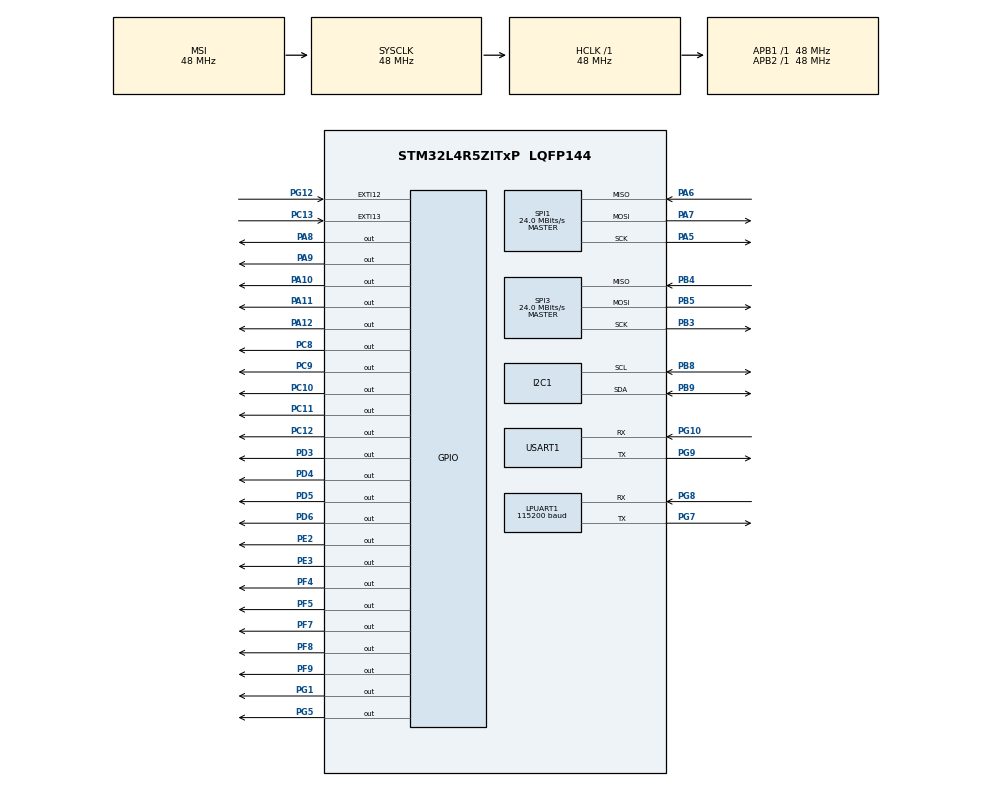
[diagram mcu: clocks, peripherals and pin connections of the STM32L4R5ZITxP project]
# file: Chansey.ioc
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I2C1.Timing=0x10805D88
LPUART1.BaudRate=115200
LPUART1.WordLength=UART_WORDLENGTH_8B
Mcu.Family=STM32L4
Mcu.Name=STM32L4R5ZITxP
Mcu.Package=LQFP144
NVIC.EXTI15_10_IRQn=true\:0\:0\:false\:false\:true\:true\:true\:true
NVIC.PriorityGroup=NVIC_PRIORITYGROUP_4
PA0.Signal=S_TIM2_CH1
PA1.Signal=ADCx_IN6
PA10.Signal=GPIO_Output
PA11.Signal=GPIO_Output
PA12.Signal=GPIO_Output
PA13\ (JTMS/SWDIO).Signal=SYS_JTMS-SWDIO
PA14\ (JTCK/SWCLK).Signal=SYS_JTCK-SWCLK
PA3.Signal=ADCx_IN8
PA4.Signal=SPI1_NSS
PA5.Mode=Full_Duplex_Master
PA5.Signal=SPI1_SCK
PA6.Mode=Full_Duplex_Master
PA6.Signal=SPI1_MISO
PA7.Mode=Full_Duplex_Master
PA7.Signal=SPI1_MOSI
PA8.Signal=GPIO_Output
PA9.Signal=GPIO_Output
PB0.Signal=S_TIM3_CH3
PB1.Signal=ADCx_IN16
PB10.Signal=S_TIM2_CH3
PB12.Signal=SAI2_FS_A
PB13.Signal=SAI2_SCK_A
PB14.Signal=S_TIM15_CH1
PB15.Signal=SAI2_SD_A
PB2.Signal=COMP1_INP
PB3\ (JTDO/TRACESWO).Mode=Full_Duplex_Master
PB3\ (JTDO/TRACESWO).Signal=SPI3_SCK
PB4\ (NJTRST).Mode=Full_Duplex_Master
PB4\ (NJTRST).Signal=SPI3_MISO
PB5.Mode=Full_Duplex_Master
PB5.Signal=SPI3_MOSI
PB6.Signal=COMP2_INP
PB8.Mode=I2C
PB8.Signal=I2C1_SCL
PB9.Mode=I2C
PB9.Signal=I2C1_SDA
PC0.Signal=ADCx_IN1
PC1.Signal=ADCx_IN2
PC10.Signal=GPIO_Output
PC11.Signal=GPIO_Output
PC12.Signal=GPIO_Output
PC13.Signal=GPXTI13
PC14-OSC32_IN\ (PC14).Signal=RCC_OSC32_IN
PC15-OSC32_OUT\ (PC15).Signal=RCC_OSC32_OUT
PC2.Signal=ADCx_IN3
PC3.Signal=ADCx_IN4
PC4.Signal=ADCx_IN13
PC5.Signal=ADCx_IN14
PC6.Signal=SAI2_MCLK_A
PC7.Signal=S_TIM3_CH2
PC8.Signal=GPIO_Output
PC9.Signal=GPIO_Output
PD0.Signal=CAN1_RX
PD14.Signal=S_TIM4_CH3
PD15.Signal=S_TIM4_CH4
PD2.Signal=SDMMC1_CMD
PD3.Signal=GPIO_Output
PD4.Signal=GPIO_Output
PD5.Signal=GPIO_Output
PD6.Signal=GPIO_Output
PD8.Signal=USART3_TX
PD9.Signal=USART3_RX
PE0.Signal=S_TIM4_ETR
PE10.Signal=TIM1_CH2N
PE11.Signal=S_TIM1_CH2
PE12.Signal=TIM1_CH3N
PE13.Signal=S_TIM1_CH3
PE14.Signal=TIM1_BKIN2
PE15.Signal=TIM1_BKIN
PE2.Signal=GPIO_Output
PE3.Signal=GPIO_Output
PE7.Signal=S_TIM1_ETR
PE8.Signal=TIM1_CH1N
PE9.Signal=S_TIM1_CH1
PF0.Signal=I2C2_SDA
PF1.Signal=I2C2_SCL
PF2.Signal=I2C2_SMBA
PF4.Signal=GPIO_Output
PF5.Signal=GPIO_Output
PF7.Signal=GPIO_Output
PF8.Signal=GPIO_Output
PF9.Signal=GPIO_Output
PG1.Signal=GPIO_Output
PG10.Mode=Asynchronous
PG10.Signal=USART1_RX
PG12.Signal=GPXTI12
PG5.Signal=GPIO_Output
PG7.Mode=Asynchronous
PG7.Signal=LPUART1_TX
PG8.Mode=Asynchronous
PG8.Signal=LPUART1_RX
PG9.Mode=Asynchronous
PG9.Signal=USART1_TX
PH0-OSC_IN\ (PH0).Signal=RCC_OSC_IN
PH1-OSC_OUT\ (PH1).Signal=RCC_OSC_OUT
ProjectManager.HeapSize=0x200
ProjectManager.StackSize=0x400
ProjectManager.TargetToolchain=STM32CubeIDE
RCC.ADCFreq_Value=192000000
RCC.AHBFreq_Value=48000000
RCC.APB1Freq_Value=48000000
RCC.APB1TimFreq_Value=48000000
RCC.APB2Freq_Value=48000000
RCC.APB2TimFreq_Value=48000000
RCC.CortexFreq_Value=48000000
RCC.HCLKFreq_Value=48000000
RCC.HSE_VALUE=8000000
RCC.HSI48_VALUE=48000000
RCC.HSI_VALUE=16000000
RCC.LSE_VALUE=32768
RCC.MSIClockRange=RCC_MSIRANGE_11
RCC.MSI_VALUE=48000000
RCC.SYSCLKFreq_VALUE=48000000
RCC.USBFreq_Value=192000000
RCC.VCOOutputFreq_Value=384000000
SH.ADCx_IN1.0=ADC1_IN1
SH.ADCx_IN13.0=ADC1_IN13
SH.ADCx_IN14.0=ADC1_IN14
SH.ADCx_IN16.0=ADC1_IN16
SH.ADCx_IN2.0=ADC1_IN2
SH.ADCx_IN3.0=ADC1_IN3
SH.ADCx_IN4.0=ADC1_IN4
SH.ADCx_IN6.0=ADC1_IN6
SH.ADCx_IN8.0=ADC1_IN8
SH.S_TIM15_CH1.0=TIM15_CH1
SH.S_TIM1_CH1.0=TIM1_CH1
SH.S_TIM1_CH2.0=TIM1_CH2
SH.S_TIM1_CH3.0=TIM1_CH3
SH.S_TIM1_ETR.0=TIM1_ETR
SH.S_TIM2_CH1.0=TIM2_CH1
SH.S_TIM2_CH3.0=TIM2_CH3
SH.S_TIM3_CH2.0=TIM3_CH2
SH.S_TIM3_CH3.0=TIM3_CH3
SH.S_TIM4_CH3.0=TIM4_CH3
SH.S_TIM4_CH4.0=TIM4_CH4
SH.S_TIM4_ETR.0=TIM4_ETR
SPI1.CalculateBaudRate=24.0 MBits/s
SPI1.Direction=SPI_DIRECTION_2LINES
SPI1.Mode=SPI_MODE_MASTER
SPI1.VirtualType=VM_MASTER
SPI3.CalculateBaudRate=24.0 MBits/s
SPI3.DataSize=SPI_DATASIZE_8BIT
SPI3.Direction=SPI_DIRECTION_2LINES
SPI3.Mode=SPI_MODE_MASTER
SPI3.VirtualType=VM_MASTER
USART1.VirtualMode-Asynchronous=VM_ASYNC
board=NUCLEO-L4R5ZI-P

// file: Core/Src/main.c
/* USER CODE BEGIN Header */
/**
  ******************************************************************************
  * @file           : main.c
  * @brief          : Main program body
  ******************************************************************************
  * @attention
  *
  * Copyright (c) 2025 STMicroelectronics.
  * All rights reserved.
  *
  * This software is licensed under terms that can be found in the LICENSE file
  * in the root directory of this software component.
  * If no LICENSE file comes with this software, it is provided AS-IS.
  *
  ******************************************************************************
  */
/* USER CODE END Header */
#include "main.h"

/* USER CODE BEGIN Includes */
#include "bodytemp.h"
#include "distance.h"
#include "rfid.h"
#include "temp_humid.h"
#include "stdio.h"
#include "motors.h"
#include "communicate.h"
#include "string.h"
#include "../../Drivers/VL53L0X/core/inc/vl53l0x_api.h"
#include "display.h"
/* USER CODE END Includes */

I2C_HandleTypeDef hi2c1;

UART_HandleTypeDef hlpuart1;
UART_HandleTypeDef huart1;

SPI_HandleTypeDef hspi1;
SPI_HandleTypeDef hspi3;

/* USER CODE BEGIN PV */
enum States {
	IDLE,
	SCAN,
	HEART,
	TEMP,
	RESULT,
	PILLS,
	DONE
};

enum Users {
	DEFAULT,
	ABRAHAM, //1
	ALEC,    //2
	ANNA,    //3
	AVA,     //4
	JAMES,   //5
	JOHN,    //6
	JOSEPH,  //7
	JUNYI,   //8
	KRIS,    //9
	MATT,    //10
	NATALIE  //11
};

VL53L0X_RangingMeasurementData_t RangingData;
VL53L0X_Dev_t vl53l0x_c;
VL53L0X_DEV Dev = &vl53l0x_c;
volatile uint8_t restock = 0;

/* USER CODE END PV */

void SystemClock_Config(void);
static void MX_GPIO_Init(void);
static void MX_I2C1_Init(void);
static void MX_LPUART1_UART_Init(void);
static void MX_USART1_UART_Init(void);
static void MX_SPI1_Init(void);
static void MX_SPI3_Init(void);

int main(void)
{

  /* MCU Configuration--------------------------------------------------------*/

  /* Reset of all peripherals, Initializes the Flash interface and the Systick. */
  HAL_Init();

  /* Configure the system clock */
  SystemClock_Config();

  /* Initialize all configured peripherals */
  MX_GPIO_Init();
  MX_I2C1_Init();
  MX_LPUART1_UART_Init();
  MX_USART1_UART_Init();
  MX_SPI1_Init();
  MX_SPI3_Init();
  /* USER CODE BEGIN 2 */

  enum States Chansey = IDLE;
  //IDLE STATE VARIABLES
  float buffer[2] = {0};
  uint8_t RFID_bool = 0;
  uint8_t distance_bool = 0;
  uint8_t counter = 0; //to not read temperature every single time we perform loop

  //RFID VARIABLES
  uint8_t str[MAX_LEN] = {0};
  uint8_t serNum[5] = {0};
  uint8_t R[16] = {0};
  uint8_t TrainerNum = DEFAULT;

  //HEART VARIABLES
   uint16_t heart_rate;

  //BODY TEMPERATURE VARIABLES
  float body_temperature;

  //PILL VARIABLES
  uint8_t pill_dispensed;

  //DISTANCE SENSOR VARIABLES
	uint32_t refSpadCount;
	uint8_t isApertureSpads;
	uint8_t VhvSettings;
	uint8_t PhaseCal;
	  Dev->I2cHandle = &hi2c1;
	  Dev->I2cDevAddr = 0x52;

	  // INITIALIZE DISPLAY
	  HAL_GPIO_WritePin(GPIOF, GPIO_PIN_4, GPIO_PIN_SET); // CS HIGH
	  DisplayBegin();

	  FillScreen(0xFFFF);

  /* USER CODE END 2 */

  /* Infinite loop */
  /* USER CODE BEGIN WHILE */
	  Chansey = TEMP;
  while (1)
  {
    /* USER CODE END WHILE */

    /* USER CODE BEGIN 3 */

	  	 printf("Chansey State: %d\r\n", Chansey);
		 switch(Chansey) {
		 	 case IDLE:
		 		 //turn off the speaker

		 		 RFID_bool = 0;
		 		 distance_bool = 0;
		 		 //temperature and humidity logic
		 		 float old_buffer[2];
		 		 memcpy(old_buffer, buffer, 2);
		 		//used to not read temperature/humidity all the time if not sensing
		 		 if(counter == 0){
					 if(temp_humid(&buffer, &hi2c1)){
						 printf("Temperature & Humidity: %.2f, %.2f\r\n", buffer[0], buffer[1]);
						 //send to LED;
						 //print for debug
					 }
					 else{
						 printf("Temp & Humidity not read: %.2f, %.2f\r\n", old_buffer[0], old_buffer[1]);
					 }
					 HAL_Delay(10);
		 		 }
		 		 //distance sensor logic
		 		  uint8_t buf[10] = {0xC0};
		 		  HAL_I2C_Master_Transmit(&hi2c1, VL_W_A, &buf[0], 1, 1000);
		 		  HAL_I2C_Master_Receive(&hi2c1, VL_R_A, &buf[2], 1, 1000);
		 		  SensorInit(  &refSpadCount,    &isApertureSpads,   & VhvSettings,   & PhaseCal);

		 		  VL53L0X_PerformSingleRangingMeasurement(Dev, &RangingData);
		 		  //printf("status: %u\n\r", RangingData.RangeStatus);

		 		  if (RangingData.RangeStatus==0) {
		 			  printf("Measured distance in mm: %u\n\r", RangingData.RangeMilliMeter);

		 			  if (RangingData.RangeMilliMeter == 0) {
		 				  SensorInit( &refSpadCount,    &isApertureSpads,    &VhvSettings,   & PhaseCal);
		 			  }
		 			  else{
		 				  if(RangingData.RangeMilliMeter < 200){
		 					  distance_bool = 1;
		 				  }
		 			  }
		 		  }

		 		 //RFID logic
		 		 uint8_t status = readCard(1, R); //reads trainer name
		 		 TrainerNum = R[0];
		 		 if(status == MI_OK && (R[0] != 0)){
		 			 RFID_bool = 1;
		 		 }

		 		 /*NEXT STATE LOGIC : if distance threshold met, move to SCAN, if RFID is scanned override and go to HEART.
		 		 (in cases where it recognizes both RFID and a person, it will not move to a redundant state)
		 		 */
		 		 if(distance_bool){
		 			 Chansey = SCAN;
		 			 printf("To scan\r\n");
		 		 }
		 		 if(RFID_bool){
		 			 Chansey = HEART;
		 			 printf("To heart\r\n");
		 		 }

		 		 //increase counter
		 		 counter++;
		 		 //reset counter if it goes over 255 range
		 		 if(counter > 50){
		 			 counter = 0;
		 		 }

		 		 break;
		 	 case SCAN:

		 		 uint8_t status1 = readCard(1, R);
		 		 if(status == MI_OK && (R[0] != 0)){
		 			 RFID_bool = 1;
		 		 }

		 		 if(RFID_bool == 1){
		 			 Chansey = HEART;
		 		 }

		 		 break;
		 	case HEART:

		 		//get heart rate
		 		/*
		 		 * if heart rate > threshold then store and make heart_bool = 1
		 		 */
//		 		if(heart_bool = 1){
//		 			heart_rate = getHeartRate();
//		 			Chansey = TEMP;
//		 		}

		 		break;
		 	case TEMP:

				if(temp_ready(&hi2c1)){
					body_temperature = getBodyTemp(&hi2c1);

					printf("body_temperature: %.2f\r\n", body_temperature);
					Chansey = RESULT;
				}
				HAL_Delay(100);
		 		break;
		 	case RESULT:
		 		//set pill_dispenser for multivitamin; //set the variable
		 		//read rfid
		 		//block 4 == average heart rate
		 		//if body_temperature > 100.4
		 		//set pill dispenser for fever medication
		 		//if heart_rate is not within +- 10 beats of users average then -> "Abnormal heart rate reading, hospital visit recommended"
		 		pill_dispensed = 1;
		 		if(body_temperature > 100.4){
		 			pill_dispensed = 0;
		 		}
		 		FillScreen(0xFFFF);
		 		HeartTempText("Ava");

		 		Chansey = PILLS;
		 		break;
		 	case PILLS:
		 		//read pill_dispenser variable
		 		//if plll_dispenser == 1 //
		 		//release multivitamin -> TURN LEFT MOTOR
		 		if(pill_dispensed == 1){
		 			printf("Dispensing Multivitamin\r\n");
			 	 	HAL_GPIO_EXTI_Callback(GPIO_PIN_13);
		 		}
		 		else{ //release fever meds
		 			HAL_GPIO_EXTI_Callback(GPIO_PIN_12);
		 		}
		 		if(restock == 2){
		 			printf("Out of stock, please re-stock multivitamin dispenser ");
		 		}
		 		else if(restock == 1){
		 			printf("Out of stock, please re-stock fever dispenser ");
		 		}

				Chansey = DONE;
		 		break;
		 	case DONE:
		 		//write average heart rate to the RFID if it's not abnormal
		 		//write
		 		//AVA
		 		//HR
		 		//TEMP
		 		//PILL_DISPENSED
		 		//DATE -> internally

		 		float data[4] = {(float)TrainerNum, (float)heart_rate, body_temperature, (float)pill_dispensed};
		 		sendToApp(&huart1, data);
		 		counter = 0;
		 		Chansey = TEMP;
		 		break;
		 }
  }
  /* USER CODE END 3 */
}

void SystemClock_Config(void)
{
  RCC_OscInitTypeDef RCC_OscInitStruct = {0};
  RCC_ClkInitTypeDef RCC_ClkInitStruct = {0};

  /** Configure the main internal regulator output voltage
  */
  if (HAL_PWREx_ControlVoltageScaling(PWR_REGULATOR_VOLTAGE_SCALE1) != HAL_OK)
  {
    Error_Handler();
  }

  /** Initializes the RCC Oscillators according to the specified parameters
  * in the RCC_OscInitTypeDef structure.
  */
  RCC_OscInitStruct.OscillatorType = RCC_OSCILLATORTYPE_MSI;
  RCC_OscInitStruct.MSIState = RCC_MSI_ON;
  RCC_OscInitStruct.MSICalibrationValue = 0;
  RCC_OscInitStruct.MSIClockRange = RCC_MSIRANGE_11;
  RCC_OscInitStruct.PLL.PLLState = RCC_PLL_NONE;
  if (HAL_RCC_OscConfig(&RCC_OscInitStruct) != HAL_OK)
  {
    Error_Handler();
  }

  /** Initializes the CPU, AHB and APB buses clocks
  */
  RCC_ClkInitStruct.ClockType = RCC_CLOCKTYPE_HCLK|RCC_CLOCKTYPE_SYSCLK
                              |RCC_CLOCKTYPE_PCLK1|RCC_CLOCKTYPE_PCLK2;
  RCC_ClkInitStruct.SYSCLKSource = RCC_SYSCLKSOURCE_MSI;
  RCC_ClkInitStruct.AHBCLKDivider = RCC_SYSCLK_DIV1;
  RCC_ClkInitStruct.APB1CLKDivider = RCC_HCLK_DIV1;
  RCC_ClkInitStruct.APB2CLKDivider = RCC_HCLK_DIV1;

  if (HAL_RCC_ClockConfig(&RCC_ClkInitStruct, FLASH_LATENCY_2) != HAL_OK)
  {
    Error_Handler();
  }
}

static void MX_I2C1_Init(void)
{

  hi2c1.Instance = I2C1;
  hi2c1.Init.Timing = 0x10805D88;
  hi2c1.Init.OwnAddress1 = 0;
  hi2c1.Init.AddressingMode = I2C_ADDRESSINGMODE_7BIT;
  hi2c1.Init.DualAddressMode = I2C_DUALADDRESS_DISABLE;
  hi2c1.Init.OwnAddress2 = 0;
  hi2c1.Init.OwnAddress2Masks = I2C_OA2_NOMASK;
  hi2c1.Init.GeneralCallMode = I2C_GENERALCALL_DISABLE;
  hi2c1.Init.NoStretchMode = I2C_NOSTRETCH_DISABLE;
  if (HAL_I2C_Init(&hi2c1) != HAL_OK)
  {
    Error_Handler();
  }

  /** Configure Analogue filter
  */
  if (HAL_I2CEx_ConfigAnalogFilter(&hi2c1, I2C_ANALOGFILTER_ENABLE) != HAL_OK)
  {
    Error_Handler();
  }

  /** Configure Digital filter
  */
  if (HAL_I2CEx_ConfigDigitalFilter(&hi2c1, 0) != HAL_OK)
  {
    Error_Handler();
  }

}

static void MX_LPUART1_UART_Init(void)
{

  hlpuart1.Instance = LPUART1;
  hlpuart1.Init.BaudRate = 115200;
  hlpuart1.Init.WordLength = UART_WORDLENGTH_8B;
  hlpuart1.Init.StopBits = UART_STOPBITS_1;
  hlpuart1.Init.Parity = UART_PARITY_NONE;
  hlpuart1.Init.Mode = UART_MODE_TX_RX;
  hlpuart1.Init.HwFlowCtl = UART_HWCONTROL_NONE;
  hlpuart1.Init.OneBitSampling = UART_ONE_BIT_SAMPLE_DISABLE;
  hlpuart1.Init.ClockPrescaler = UART_PRESCALER_DIV1;
  hlpuart1.AdvancedInit.AdvFeatureInit = UART_ADVFEATURE_NO_INIT;
  hlpuart1.FifoMode = UART_FIFOMODE_DISABLE;
  if (HAL_UART_Init(&hlpuart1) != HAL_OK)
  {
    Error_Handler();
  }
  if (HAL_UARTEx_SetTxFifoThreshold(&hlpuart1, UART_TXFIFO_THRESHOLD_1_8) != HAL_OK)
  {
    Error_Handler();
  }
  if (HAL_UARTEx_SetRxFifoThreshold(&hlpuart1, UART_RXFIFO_THRESHOLD_1_8) != HAL_OK)
  {
    Error_Handler();
  }
  if (HAL_UARTEx_DisableFifoMode(&hlpuart1) != HAL_OK)
  {
    Error_Handler();
  }

}

static void MX_USART1_UART_Init(void)
{

  huart1.Instance = USART1;
  huart1.Init.BaudRate = 115200;
  huart1.Init.WordLength = UART_WORDLENGTH_8B;
  huart1.Init.StopBits = UART_STOPBITS_1;
  huart1.Init.Parity = UART_PARITY_NONE;
  huart1.Init.Mode = UART_MODE_TX_RX;
  huart1.Init.HwFlowCtl = UART_HWCONTROL_NONE;
  huart1.Init.OverSampling = UART_OVERSAMPLING_16;
  huart1.Init.OneBitSampling = UART_ONE_BIT_SAMPLE_DISABLE;
  huart1.Init.ClockPrescaler = UART_PRESCALER_DIV1;
  huart1.AdvancedInit.AdvFeatureInit = UART_ADVFEATURE_NO_INIT;
  if (HAL_UART_Init(&huart1) != HAL_OK)
  {
    Error_Handler();
  }
  if (HAL_UARTEx_SetTxFifoThreshold(&huart1, UART_TXFIFO_THRESHOLD_1_8) != HAL_OK)
  {
    Error_Handler();
  }
  if (HAL_UARTEx_SetRxFifoThreshold(&huart1, UART_RXFIFO_THRESHOLD_1_8) != HAL_OK)
  {
    Error_Handler();
  }
  if (HAL_UARTEx_DisableFifoMode(&huart1) != HAL_OK)
  {
    Error_Handler();
  }

}

static void MX_SPI1_Init(void)
{

  /* SPI1 parameter configuration*/
  hspi1.Instance = SPI1;
  hspi1.Init.Mode = SPI_MODE_MASTER;
  hspi1.Init.Direction = SPI_DIRECTION_2LINES;
  hspi1.Init.DataSize = SPI_DATASIZE_4BIT;
  hspi1.Init.CLKPolarity = SPI_POLARITY_LOW;
  hspi1.Init.CLKPhase = SPI_PHASE_1EDGE;
  hspi1.Init.NSS = SPI_NSS_SOFT;
  hspi1.Init.BaudRatePrescaler = SPI_BAUDRATEPRESCALER_2;
  hspi1.Init.FirstBit = SPI_FIRSTBIT_MSB;
  hspi1.Init.TIMode = SPI_TIMODE_DISABLE;
  hspi1.Init.CRCCalculation = SPI_CRCCALCULATION_DISABLE;
  hspi1.Init.CRCPolynomial = 7;
  hspi1.Init.CRCLength = SPI_CRC_LENGTH_DATASIZE;
  hspi1.Init.NSSPMode = SPI_NSS_PULSE_ENABLE;
  if (HAL_SPI_Init(&hspi1) != HAL_OK)
  {
    Error_Handler();
  }

}

static void MX_SPI3_Init(void)
{

  /* SPI3 parameter configuration*/
  hspi3.Instance = SPI3;
  hspi3.Init.Mode = SPI_MODE_MASTER;
  hspi3.Init.Direction = SPI_DIRECTION_2LINES;
  hspi3.Init.DataSize = SPI_DATASIZE_8BIT;
  hspi3.Init.CLKPolarity = SPI_POLARITY_LOW;
  hspi3.Init.CLKPhase = SPI_PHASE_1EDGE;
  hspi3.Init.NSS = SPI_NSS_SOFT;
  hspi3.Init.BaudRatePrescaler = SPI_BAUDRATEPRESCALER_2;
  hspi3.Init.FirstBit = SPI_FIRSTBIT_MSB;
  hspi3.Init.TIMode = SPI_TIMODE_DISABLE;
  hspi3.Init.CRCCalculation = SPI_CRCCALCULATION_DISABLE;
  hspi3.Init.CRCPolynomial = 7;
  hspi3.Init.CRCLength = SPI_CRC_LENGTH_DATASIZE;
  hspi3.Init.NSSPMode = SPI_NSS_PULSE_ENABLE;
  if (HAL_SPI_Init(&hspi3) != HAL_OK)
  {
    Error_Handler();
  }

}

static void MX_GPIO_Init(void)
{
  GPIO_InitTypeDef GPIO_InitStruct = {0};

  /* GPIO Ports Clock Enable */
  __HAL_RCC_GPIOE_CLK_ENABLE();
  __HAL_RCC_GPIOC_CLK_ENABLE();
  __HAL_RCC_GPIOF_CLK_ENABLE();
  __HAL_RCC_GPIOH_CLK_ENABLE();
  __HAL_RCC_GPIOA_CLK_ENABLE();
  __HAL_RCC_GPIOB_CLK_ENABLE();
  __HAL_RCC_GPIOG_CLK_ENABLE();
  __HAL_RCC_GPIOD_CLK_ENABLE();
  HAL_PWREx_EnableVddIO2();

  /*Configure GPIO pin Output Level */
  HAL_GPIO_WritePin(GPIOE, GPIO_PIN_2|GPIO_PIN_3, GPIO_PIN_RESET);

  /*Configure GPIO pin Output Level */
  HAL_GPIO_WritePin(GPIOF, GPIO_PIN_4|GPIO_PIN_5|GPIO_PIN_7|GPIO_PIN_8
                          |GPIO_PIN_9, GPIO_PIN_RESET);

  /*Configure GPIO pin Output Level */
  HAL_GPIO_WritePin(GPIOG, GPIO_PIN_1|GPIO_PIN_5, GPIO_PIN_RESET);

  /*Configure GPIO pin Output Level */
  HAL_GPIO_WritePin(GPIOC, GPIO_PIN_8|GPIO_PIN_9|GPIO_PIN_10|GPIO_PIN_11
                          |GPIO_PIN_12, GPIO_PIN_RESET);

  /*Configure GPIO pin Output Level */
  HAL_GPIO_WritePin(GPIOA, GPIO_PIN_8|GPIO_PIN_9|GPIO_PIN_10|GPIO_PIN_11
                          |GPIO_PIN_12, GPIO_PIN_RESET);

  /*Configure GPIO pin Output Level */
  HAL_GPIO_WritePin(GPIOD, GPIO_PIN_3|GPIO_PIN_4|GPIO_PIN_5|GPIO_PIN_6, GPIO_PIN_RESET);

  /*Configure GPIO pins : PE2 PE3 */
  GPIO_InitStruct.Pin = GPIO_PIN_2|GPIO_PIN_3;
  GPIO_InitStruct.Mode = GPIO_MODE_OUTPUT_PP;
  GPIO_InitStruct.Pull = GPIO_NOPULL;
  GPIO_InitStruct.Speed = GPIO_SPEED_FREQ_LOW;
  HAL_GPIO_Init(GPIOE, &GPIO_InitStruct);

  /*Configure GPIO pin : PC13 */
  GPIO_InitStruct.Pin = GPIO_PIN_13;
  GPIO_InitStruct.Mode = GPIO_MODE_IT_RISING;
  GPIO_InitStruct.Pull = GPIO_NOPULL;
  HAL_GPIO_Init(GPIOC, &GPIO_InitStruct);

  /*Configure GPIO pins : PF0 PF1 PF2 */
  GPIO_InitStruct.Pin = GPIO_PIN_0|GPIO_PIN_1|GPIO_PIN_2;
  GPIO_InitStruct.Mode = GPIO_MODE_AF_OD;
  GPIO_InitStruct.Pull = GPIO_NOPULL;
  GPIO_InitStruct.Speed = GPIO_SPEED_FREQ_VERY_HIGH;
  GPIO_InitStruct.Alternate = GPIO_AF4_I2C2;
  HAL_GPIO_Init(GPIOF, &GPIO_InitStruct);

  /*Configure GPIO pins : PF4 PF5 PF7 PF8
                           PF9 */
  GPIO_InitStruct.Pin = GPIO_PIN_4|GPIO_PIN_5|GPIO_PIN_7|GPIO_PIN_8
                          |GPIO_PIN_9;
  GPIO_InitStruct.Mode = GPIO_MODE_OUTPUT_PP;
  GPIO_InitStruct.Pull = GPIO_NOPULL;
  GPIO_InitStruct.Speed = GPIO_SPEED_FREQ_LOW;
  HAL_GPIO_Init(GPIOF, &GPIO_InitStruct);

  /*Configure GPIO pins : PC0 PC1 PC2 PC3
                           PC4 PC5 */
  GPIO_InitStruct.Pin = GPIO_PIN_0|GPIO_PIN_1|GPIO_PIN_2|GPIO_PIN_3
                          |GPIO_PIN_4|GPIO_PIN_5;
  GPIO_InitStruct.Mode = GPIO_MODE_ANALOG_ADC_CONTROL;
  GPIO_InitStruct.Pull = GPIO_NOPULL;
  HAL_GPIO_Init(GPIOC, &GPIO_InitStruct);

  /*Configure GPIO pin : PA0 */
  GPIO_InitStruct.Pin = GPIO_PIN_0;
  GPIO_InitStruct.Mode = GPIO_MODE_AF_PP;
  GPIO_InitStruct.Pull = GPIO_NOPULL;
  GPIO_InitStruct.Speed = GPIO_SPEED_FREQ_LOW;
  GPIO_InitStruct.Alternate = GPIO_AF1_TIM2;
  HAL_GPIO_Init(GPIOA, &GPIO_InitStruct);

  /*Configure GPIO pins : PA1 PA3 */
  GPIO_InitStruct.Pin = GPIO_PIN_1|GPIO_PIN_3;
  GPIO_InitStruct.Mode = GPIO_MODE_ANALOG_ADC_CONTROL;
  GPIO_InitStruct.Pull = GPIO_NOPULL;
  HAL_GPIO_Init(GPIOA, &GPIO_InitStruct);

  /*Configure GPIO pin : PB0 */
  GPIO_InitStruct.Pin = GPIO_PIN_0;
  GPIO_InitStruct.Mode = GPIO_MODE_AF_PP;
  GPIO_InitStruct.Pull = GPIO_NOPULL;
  GPIO_InitStruct.Speed = GPIO_SPEED_FREQ_LOW;
  GPIO_InitStruct.Alternate = GPIO_AF2_TIM3;
  HAL_GPIO_Init(GPIOB, &GPIO_InitStruct);

  /*Configure GPIO pin : PB1 */
  GPIO_InitStruct.Pin = GPIO_PIN_1;
  GPIO_InitStruct.Mode = GPIO_MODE_ANALOG_ADC_CONTROL;
  GPIO_InitStruct.Pull = GPIO_NOPULL;
  HAL_GPIO_Init(GPIOB, &GPIO_InitStruct);

  /*Configure GPIO pins : PB2 PB6 */
  GPIO_InitStruct.Pin = GPIO_PIN_2|GPIO_PIN_6;
  GPIO_InitStruct.Mode = GPIO_MODE_ANALOG;
  GPIO_InitStruct.Pull = GPIO_NOPULL;
  HAL_GPIO_Init(GPIOB, &GPIO_InitStruct);

  /*Configure GPIO pins : PG1 PG5 */
  GPIO_InitStruct.Pin = GPIO_PIN_1|GPIO_PIN_5;
  GPIO_InitStruct.Mode = GPIO_MODE_OUTPUT_PP;
  GPIO_InitStruct.Pull = GPIO_NOPULL;
  GPIO_InitStruct.Speed = GPIO_SPEED_FREQ_LOW;
  HAL_GPIO_Init(GPIOG, &GPIO_InitStruct);

  /*Configure GPIO pins : PE7 PE8 PE9 PE10
                           PE11 PE12 PE13 */
  GPIO_InitStruct.Pin = GPIO_PIN_7|GPIO_PIN_8|GPIO_PIN_9|GPIO_PIN_10
                          |GPIO_PIN_11|GPIO_PIN_12|GPIO_PIN_13;
  GPIO_InitStruct.Mode = GPIO_MODE_AF_PP;
  GPIO_InitStruct.Pull = GPIO_NOPULL;
  GPIO_InitStruct.Speed = GPIO_SPEED_FREQ_LOW;
  GPIO_InitStruct.Alternate = GPIO_AF1_TIM1;
  HAL_GPIO_Init(GPIOE, &GPIO_InitStruct);

  /*Configure GPIO pins : PE14 PE15 */
  GPIO_InitStruct.Pin = GPIO_PIN_14|GPIO_PIN_15;
  GPIO_InitStruct.Mode = GPIO_MODE_AF_PP;
  GPIO_InitStruct.Pull = GPIO_NOPULL;
  GPIO_InitStruct.Speed = GPIO_SPEED_FREQ_LOW;
  GPIO_InitStruct.Alternate = GPIO_AF3_TIM1_COMP1;
  HAL_GPIO_Init(GPIOE, &GPIO_InitStruct);

  /*Configure GPIO pin : PB10 */
  GPIO_InitStruct.Pin = GPIO_PIN_10;
  GPIO_InitStruct.Mode = GPIO_MODE_AF_PP;
  GPIO_InitStruct.Pull = GPIO_NOPULL;
  GPIO_InitStruct.Speed = GPIO_SPEED_FREQ_LOW;
  GPIO_InitStruct.Alternate = GPIO_AF1_TIM2;
  HAL_GPIO_Init(GPIOB, &GPIO_InitStruct);

  /*Configure GPIO pins : PB12 PB13 PB15 */
  GPIO_InitStruct.Pin = GPIO_PIN_12|GPIO_PIN_13|GPIO_PIN_15;
  GPIO_InitStruct.Mode = GPIO_MODE_AF_PP;
  GPIO_InitStruct.Pull = GPIO_NOPULL;
  GPIO_InitStruct.Speed = GPIO_SPEED_FREQ_LOW;
  GPIO_InitStruct.Alternate = GPIO_AF13_SAI2;
  HAL_GPIO_Init(GPIOB, &GPIO_InitStruct);

  /*Configure GPIO pin : PB14 */
  GPIO_InitStruct.Pin = GPIO_PIN_14;
  GPIO_InitStruct.Mode = GPIO_MODE_AF_PP;
  GPIO_InitStruct.Pull = GPIO_NOPULL;
  GPIO_InitStruct.Speed = GPIO_SPEED_FREQ_LOW;
  GPIO_InitStruct.Alternate = GPIO_AF14_TIM15;
  HAL_GPIO_Init(GPIOB, &GPIO_InitStruct);

  /*Configure GPIO pins : PD8 PD9 */
  GPIO_InitStruct.Pin = GPIO_PIN_8|GPIO_PIN_9;
  GPIO_InitStruct.Mode = GPIO_MODE_AF_PP;
  GPIO_InitStruct.Pull = GPIO_NOPULL;
  GPIO_InitStruct.Speed = GPIO_SPEED_FREQ_VERY_HIGH;
  GPIO_InitStruct.Alternate = GPIO_AF7_USART3;
  HAL_GPIO_Init(GPIOD, &GPIO_InitStruct);

  /*Configure GPIO pins : PD14 PD15 */
  GPIO_InitStruct.Pin = GPIO_PIN_14|GPIO_PIN_15;
  GPIO_InitStruct.Mode = GPIO_MODE_AF_PP;
  GPIO_InitStruct.Pull = GPIO_NOPULL;
  GPIO_InitStruct.Speed = GPIO_SPEED_FREQ_LOW;
  GPIO_InitStruct.Alternate = GPIO_AF2_TIM4;
  HAL_GPIO_Init(GPIOD, &GPIO_InitStruct);

  /*Configure GPIO pin : PC6 */
  GPIO_InitStruct.Pin = GPIO_PIN_6;
  GPIO_InitStruct.Mode = GPIO_MODE_AF_PP;
  GPIO_InitStruct.Pull = GPIO_NOPULL;
  GPIO_InitStruct.Speed = GPIO_SPEED_FREQ_LOW;
  GPIO_InitStruct.Alternate = GPIO_AF13_SAI2;
  HAL_GPIO_Init(GPIOC, &GPIO_InitStruct);

  /*Configure GPIO pin : PC7 */
  GPIO_InitStruct.Pin = GPIO_PIN_7;
  GPIO_InitStruct.Mode = GPIO_MODE_AF_PP;
  GPIO_InitStruct.Pull = GPIO_NOPULL;
  GPIO_InitStruct.Speed = GPIO_SPEED_FREQ_LOW;
  GPIO_InitStruct.Alternate = GPIO_AF2_TIM3;
  HAL_GPIO_Init(GPIOC, &GPIO_InitStruct);

  /*Configure GPIO pins : PC8 PC9 PC10 PC11
                           PC12 */
  GPIO_InitStruct.Pin = GPIO_PIN_8|GPIO_PIN_9|GPIO_PIN_10|GPIO_PIN_11
                          |GPIO_PIN_12;
  GPIO_InitStruct.Mode = GPIO_MODE_OUTPUT_PP;
  GPIO_InitStruct.Pull = GPIO_NOPULL;
  GPIO_InitStruct.Speed = GPIO_SPEED_FREQ_LOW;
  HAL_GPIO_Init(GPIOC, &GPIO_InitStruct);

  /*Configure GPIO pins : PA8 PA9 PA10 PA11
                           PA12 */
  GPIO_InitStruct.Pin = GPIO_PIN_8|GPIO_PIN_9|GPIO_PIN_10|GPIO_PIN_11
                          |GPIO_PIN_12;
  GPIO_InitStruct.Mode = GPIO_MODE_OUTPUT_PP;
  GPIO_InitStruct.Pull = GPIO_NOPULL;
  GPIO_InitStruct.Speed = GPIO_SPEED_FREQ_LOW;
  HAL_GPIO_Init(GPIOA, &GPIO_InitStruct);

  /*Configure GPIO pin : PD0 */
  GPIO_InitStruct.Pin = GPIO_PIN_0;
  GPIO_InitStruct.Mode = GPIO_MODE_AF_PP;
  GPIO_InitStruct.Pull = GPIO_NOPULL;
  GPIO_InitStruct.Speed = GPIO_SPEED_FREQ_VERY_HIGH;
  GPIO_InitStruct.Alternate = GPIO_AF9_CAN1;
  HAL_GPIO_Init(GPIOD, &GPIO_InitStruct);

  /*Configure GPIO pin : PD2 */
  GPIO_InitStruct.Pin = GPIO_PIN_2;
  GPIO_InitStruct.Mode = GPIO_MODE_AF_PP;
  GPIO_InitStruct.Pull = GPIO_NOPULL;
  GPIO_InitStruct.Speed = GPIO_SPEED_FREQ_VERY_HIGH;
  GPIO_InitStruct.Alternate = GPIO_AF12_SDMMC1;
  HAL_GPIO_Init(GPIOD, &GPIO_InitStruct);

  /*Configure GPIO pins : PD3 PD4 PD5 PD6 */
  GPIO_InitStruct.Pin = GPIO_PIN_3|GPIO_PIN_4|GPIO_PIN_5|GPIO_PIN_6;
  GPIO_InitStruct.Mode = GPIO_MODE_OUTPUT_PP;
  GPIO_InitStruct.Pull = GPIO_NOPULL;
  GPIO_InitStruct.Speed = GPIO_SPEED_FREQ_LOW;
  HAL_GPIO_Init(GPIOD, &GPIO_InitStruct);

  /*Configure GPIO pin : PG12 */
  GPIO_InitStruct.Pin = GPIO_PIN_12;
  GPIO_InitStruct.Mode = GPIO_MODE_IT_RISING;
  GPIO_InitStruct.Pull = GPIO_NOPULL;
  HAL_GPIO_Init(GPIOG, &GPIO_InitStruct);

  /*Configure GPIO pin : PE0 */
  GPIO_InitStruct.Pin = GPIO_PIN_0;
  GPIO_InitStruct.Mode = GPIO_MODE_AF_PP;
  GPIO_InitStruct.Pull = GPIO_NOPULL;
  GPIO_InitStruct.Speed = GPIO_SPEED_FREQ_LOW;
  GPIO_InitStruct.Alternate = GPIO_AF2_TIM4;
  HAL_GPIO_Init(GPIOE, &GPIO_InitStruct);

  /* EXTI interrupt init*/
  HAL_NVIC_SetPriority(EXTI15_10_IRQn, 0, 0);
  HAL_NVIC_EnableIRQ(EXTI15_10_IRQn);

}

/* USER CODE BEGIN 4 */
#ifdef __GNUC__
#define PUTCHAR_PROTOTYPE int __io_putchar(int ch)
#else
  #define PUTCHAR_PROTOTYPE int fputc(int ch, FILE *f)
#endif /* __GNUC__ */
PUTCHAR_PROTOTYPE
{
  HAL_UART_Transmit(&hlpuart1, (uint8_t *)&ch, 1, 0xFFFF);
  return ch;
}

/* USER CODE END 4 */

void Error_Handler(void)
{
  __disable_irq();
  while (1)
  {
  }
}
